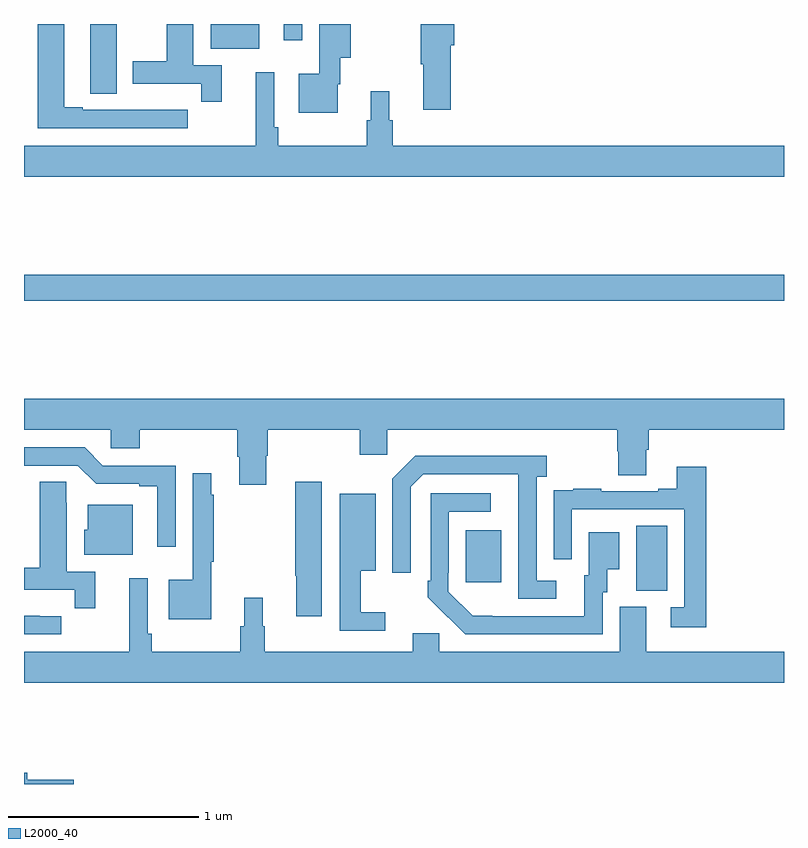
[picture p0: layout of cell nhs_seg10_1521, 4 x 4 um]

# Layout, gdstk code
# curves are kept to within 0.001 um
import gdstk
lib = gdstk.Library(unit=1e-6, precision=1e-09)
def R(c, l, rs):  # rectangles x0, y0, x1, y1
    for r in rs: c.add(gdstk.rectangle(r[:2], r[2:], *l))
def P(c, l, *ps):  # polygons
    for p in ps: c.add(gdstk.Polygon(p, *l))
L2000_40 = (2000, 40)

nhs_seg10_1521 = lib.new_cell('nhs_seg10_1521')
R(nhs_seg10_1521, L2000_40, [(194.222,1251.517,194.386,1251.86), (193.325,1251.561,193.513,1251.835), (191,1253.044,195,1253.18), (191.984,1254.371,192.238,1254.5), (192.368,1254.414,192.465,1254.5)])
P(nhs_seg10_1521, L2000_40, [(191.488,1254.5),(191.348,1254.5),(191.348,1254.241),(191.349,1254.241),(191.349,1254.133),(191.488,1254.133)],
  [(191.863,1254.048),(191.75,1254.048),(191.75,1254.049),(191.584,1254.049),(191.584,1254.048),(191.308,1254.048),(191.308,1254.063),(191.212,1254.063),(191.212,1254.5),(191.072,1254.5),(191.072,1253.952),(191.863,1253.952)],
  [(192.041,1254.282),(191.89,1254.282),(191.89,1254.5),(191.75,1254.5),(191.75,1254.303),(191.573,1254.303),(191.573,1254.186),(191.932,1254.186),(191.932,1254.09),(192.041,1254.09)],
  [(192.651,1254.182),(192.664,1254.182),(192.664,1254.323),(192.72,1254.323),(192.72,1254.5),(192.553,1254.5),(192.553,1254.238),(192.446,1254.238),(192.446,1254.032),(192.651,1254.032)],
  [(193.247,1254.387),(193.265,1254.387),(193.265,1254.5),(193.087,1254.5),(193.087,1254.287),(193.1,1254.287),(193.1,1254.048),(193.247,1254.048)],
  [(195,1253.86),(192.941,1253.86),(192.941,1253.994),(192.922,1253.994),(192.922,1254.145),(192.824,1254.145),(192.824,1253.994),(192.805,1253.994),(192.805,1253.86),(192.338,1253.86),(192.338,1253.956),(192.318,1253.956),(192.318,1254.247),(192.221,1254.247),(192.221,1253.86),(191,1253.86),(191,1253.696),(195,1253.696)],
  [(192.274,1252.227),(192.282,1252.227),(192.282,1252.364),(192.766,1252.364),(192.766,1252.233),(192.912,1252.233),(192.912,1252.364),(194.123,1252.364),(194.123,1252.251),(194.128,1252.251),(194.128,1252.126),(194.275,1252.126),(194.275,1252.258),(194.288,1252.258),(194.288,1252.364),(195,1252.364),(195,1252.528),(191,1252.528),(191,1252.364),(191.457,1252.364),(191.457,1252.266),(191.609,1252.266),(191.609,1252.364),(192.122,1252.364),(192.122,1252.222),(192.134,1252.222),(192.134,1252.074),(192.274,1252.074)],
  [(191.799,1252.176),(191.415,1252.176),(191.319,1252.272),(191,1252.272),(191,1252.176),(191.283,1252.176),(191.379,1252.08),(191.606,1252.08),(191.606,1252.068),(191.702,1252.068),(191.702,1251.75),(191.799,1251.75)],
  [(193.801,1251.57),(193.698,1251.57),(193.698,1252.118),(193.75,1252.118),(193.75,1252.228),(193.06,1252.228),(192.939,1252.107),(192.939,1251.612),(193.035,1251.612),(193.035,1252.065),(193.101,1252.131),(193.601,1252.131),(193.602,1251.474),(193.801,1251.474)],
  [(194.591,1252.171),(194.435,1252.171),(194.435,1252.054),(194.339,1252.054),(194.339,1252.041),(194.039,1252.041),(194.039,1252.054),(193.891,1252.054),(193.891,1252.047),(193.789,1252.047),(193.789,1251.938),(193.788,1251.938),(193.788,1251.684),(193.884,1251.684),(193.884,1251.945),(194.475,1251.945),(194.475,1251.429),(194.403,1251.429),(194.403,1251.324),(194.591,1251.324)],
  [(191.986,1251.67),(191.998,1251.67),(191.998,1252.022),(191.986,1252.022),(191.986,1252.135),(191.889,1252.135),(191.889,1251.574),(191.762,1251.574),(191.762,1251.368),(191.986,1251.368)],
  [(191.375,1251.618),(191.224,1251.618),(191.224,1251.98),(191.223,1251.98),(191.223,1252.091),(191.084,1252.091),(191.084,1251.639),(191,1251.639),(191,1251.522),(191.266,1251.522),(191.266,1251.426),(191.375,1251.426)],
  [(192.568,1252.09),(192.427,1252.09),(192.427,1251.596),(192.434,1251.596),(192.434,1251.384),(192.568,1251.384)],
  [(194.046,1251.51),(194.071,1251.51),(194.071,1251.629),(194.134,1251.629),(194.134,1251.826),(193.973,1251.826),(193.973,1251.6),(193.949,1251.6),(193.949,1251.384),(193.362,1251.385),(193.233,1251.513),(193.233,1251.613),(193.236,1251.613),(193.236,1251.933),(193.456,1251.933),(193.456,1252.029),(193.14,1252.029),(193.14,1251.571),(193.125,1251.571),(193.125,1251.483),(193.322,1251.288),(194.046,1251.288)],
  [(192.901,1251.405),(192.772,1251.405),(192.772,1251.623),(192.85,1251.623),(192.85,1252.027),(192.662,1252.027),(192.662,1251.727),(192.663,1251.727),(192.663,1251.306),(192.901,1251.306)],
  [(191.572,1251.97),(191.336,1251.97),(191.336,1251.837),(191.318,1251.837),(191.318,1251.707),(191.572,1251.707)],
  [(195,1251.196),(194.275,1251.196),(194.275,1251.432),(194.135,1251.432),(194.135,1251.196),(193.185,1251.196),(193.185,1251.294),(193.046,1251.294),(193.046,1251.196),(192.268,1251.196),(192.268,1251.33),(192.256,1251.33),(192.256,1251.481),(192.158,1251.481),(192.158,1251.33),(192.139,1251.33),(192.139,1251.196),(191.672,1251.196),(191.672,1251.292),(191.652,1251.292),(191.652,1251.583),(191.555,1251.583),(191.555,1251.196),(191,1251.196),(191,1251.032),(195,1251.032)],
  [(191.197,1251.384),(191.084,1251.384),(191.084,1251.385),(191,1251.385),(191,1251.288),(191.197,1251.288)],
  [(191.263,1250.522),(191.017,1250.522),(191.017,1250.56),(191,1250.56),(191,1250.5),(191.263,1250.5)])

lib.write_gds('nhs_seg10_1521.gds')
